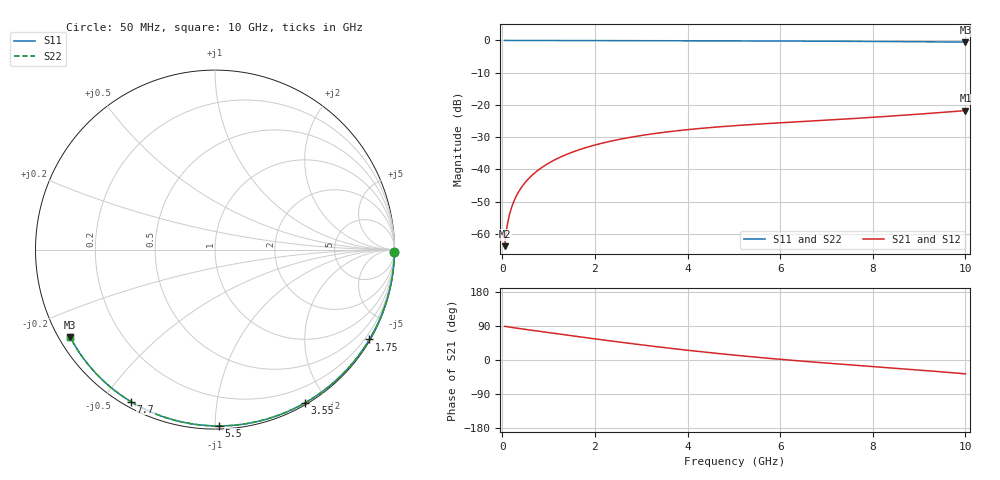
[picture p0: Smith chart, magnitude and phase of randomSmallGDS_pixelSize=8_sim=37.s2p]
! freq	dB(S11)	phase(S11)	dB(S12)	phase(S12)
!  dB(S21)	phase(S21)	dB(S22)	phase(S22)
!S-par simulation data
#  GHz  S  DB  R 50
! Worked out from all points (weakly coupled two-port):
!   200 points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, 50 MHz to 10 GHz, reference 50 ohm
!   highest |S21| = -21.78 dB at 10 GHz (marker M1); lowest = -63.8 dB at 50 MHz (marker M2)
!   lowest |S11| = -0.5 dB at 10 GHz (marker M3), VSWR 33.94, Z = 1.59 - j13.9 ohm
!   |S11| at or under -10 dB: nowhere
!   |S22| runs from -0.5 to 0.0 dB; largest |S21 - S12| = 0
!   S11 on the Smith chart (normalised r, x): 50 MHz: open; 1.75 GHz: 0.03, -3.71; 3.55 GHz: 0.02, -1.75; 5.5 GHz: 0.02, -1.02; 7.7 GHz: 0.02, -0.59; 10 GHz: 0.03, -0.28
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0.05  -0.00 -0.9  -63.84 89.0  -63.84 89.0  -0.00 -0.9
0.1  -0.00 -1.8  -57.83 88.0  -57.83 88.0  -0.00 -1.8
0.15  -0.00 -2.6  -54.32 87.0  -54.32 87.0  -0.00 -2.6
0.2  -0.00 -3.5  -51.84 86.0  -51.84 86.0  -0.00 -3.5
0.25  -0.00 -4.4  -49.92 85.1  -49.92 85.1  -0.00 -4.4
0.35  -0.00 -6.1  -47.03 83.4  -47.03 83.4  -0.00 -6.1
0.5  -0.01 -8.8  -43.98 80.8  -43.98 80.8  -0.01 -8.8
0.7  -0.01 -12.2  -41.11 77.4  -41.11 77.4  -0.01 -12.2
1  -0.02 -17.4  -38.09 72.3  -38.09 72.3  -0.02 -17.4
1.35  -0.03 -23.4  -35.59 66.4  -35.59 66.4  -0.03 -23.4
1.75  -0.04 -30.2  -33.49 59.8  -33.49 59.8  -0.04 -30.2
2.5  -0.06 -42.7  -30.77 47.7  -30.77 47.7  -0.06 -42.7
3.4  -0.08 -57.2  -28.67 34.2  -28.67 34.2  -0.08 -57.2
3.55  -0.08 -59.6  -28.40 32.0  -28.40 32.0  -0.08 -59.6
4.3  -0.11 -71.1  -27.27 21.8  -27.27 21.8  -0.11 -71.1
5.05  -0.13 -82.3  -26.41 12.4  -26.41 12.4  -0.13 -82.3
5.5  -0.15 -88.8  -25.98 7.2  -25.98 7.2  -0.15 -88.8
6.7  -0.21 -105.5  -24.97 -5.2  -24.97 -5.2  -0.21 -105.5
7.7  -0.28 -118.9  -24.12 -14.5  -24.12 -14.5  -0.28 -118.9
8.35  -0.33 -127.5  -23.51 -20.5  -23.51 -20.5  -0.33 -127.5
9.2  -0.42 -138.5  -22.64 -28.5  -22.64 -28.5  -0.42 -138.5
10  -0.51 -148.9  -21.78 -36.5  -21.78 -36.5  -0.51 -148.9
